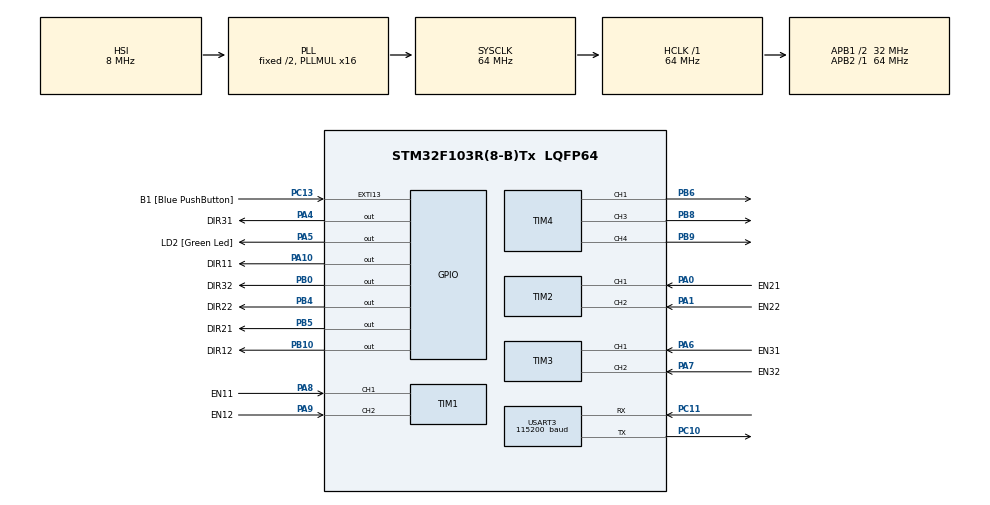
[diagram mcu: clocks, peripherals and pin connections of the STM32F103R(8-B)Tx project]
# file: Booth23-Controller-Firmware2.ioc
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Dma.Request0=USART3_RX
Dma.USART3_RX.0.Direction=DMA_PERIPH_TO_MEMORY
Dma.USART3_RX.0.Instance=DMA1_Channel3
Dma.USART3_RX.0.MemDataAlignment=DMA_MDATAALIGN_BYTE
Dma.USART3_RX.0.MemInc=DMA_MINC_ENABLE
Dma.USART3_RX.0.Mode=DMA_NORMAL
Dma.USART3_RX.0.PeriphDataAlignment=DMA_PDATAALIGN_BYTE
Dma.USART3_RX.0.PeriphInc=DMA_PINC_DISABLE
Dma.USART3_RX.0.Priority=DMA_PRIORITY_LOW
Mcu.Family=STM32F1
Mcu.Name=STM32F103R(8-B)Tx
Mcu.Package=LQFP64
NVIC.DMA1_Channel3_IRQn=true\:0\:0\:false\:false\:true\:false\:true\:true
NVIC.EXTI15_10_IRQn=true\:0\:0\:false\:false\:true\:true\:true\:true
NVIC.PriorityGroup=NVIC_PRIORITYGROUP_4
NVIC.USART3_IRQn=true\:0\:0\:false\:false\:true\:true\:true\:true
PA0-WKUP.GPIO_Label=EN21
PA0-WKUP.Signal=S_TIM2_CH1_ETR
PA1.GPIO_Label=EN22
PA1.Signal=S_TIM2_CH2
PA10.GPIO_Label=DIR11
PA10.Signal=GPIO_Output
PA13.GPIO_Label=TMS
PA13.Mode=Serial_Wire
PA13.Signal=SYS_JTMS-SWDIO
PA14.GPIO_Label=TCK
PA14.Mode=Serial_Wire
PA14.Signal=SYS_JTCK-SWCLK
PA2.GPIO_Label=USART_TX
PA2.GPIO_Mode=GPIO_MODE_AF_PP
PA2.GPIO_PuPd=GPIO_NOPULL
PA2.GPIO_Speed=GPIO_SPEED_FREQ_LOW
PA2.Signal=USART2_TX
PA3.GPIO_Label=USART_RX
PA3.GPIO_Mode=GPIO_MODE_AF_PP
PA3.GPIO_PuPd=GPIO_NOPULL
PA3.GPIO_Speed=GPIO_SPEED_FREQ_LOW
PA3.Signal=USART2_RX
PA4.GPIO_Label=DIR31
PA4.Signal=GPIO_Output
PA5.GPIO_Label=LD2 [Green Led]
PA5.GPIO_ModeDefaultOutputPP=GPIO_MODE_OUTPUT_PP
PA5.GPIO_PuPd=GPIO_NOPULL
PA5.GPIO_Speed=GPIO_SPEED_FREQ_LOW
PA5.Signal=GPIO_Output
PA6.GPIO_Label=EN31
PA6.Signal=S_TIM3_CH1
PA7.GPIO_Label=EN32
PA7.Signal=S_TIM3_CH2
PA8.GPIO_Label=EN11
PA8.Signal=S_TIM1_CH1
PA9.GPIO_Label=EN12
PA9.Signal=S_TIM1_CH2
PB0.GPIO_Label=DIR32
PB0.Signal=GPIO_Output
PB10.GPIO_Label=DIR12
PB10.Signal=GPIO_Output
PB3.GPIO_Label=SWO
PB3.Signal=SYS_JTDO-TRACESWO
PB4.GPIO_Label=DIR22
PB4.Signal=GPIO_Output
PB5.GPIO_Label=DIR21
PB5.Signal=GPIO_Output
PB6.GPIO_ModeDefaultPP=GPIO_MODE_AF_PP
PB6.GPIO_Speed=GPIO_SPEED_FREQ_LOW
PB6.Signal=S_TIM4_CH1
PB8.GPIO_ModeDefaultPP=GPIO_MODE_AF_PP
PB8.GPIO_Speed=GPIO_SPEED_FREQ_LOW
PB8.Signal=S_TIM4_CH3
PB9.GPIO_ModeDefaultPP=GPIO_MODE_AF_PP
PB9.GPIO_Speed=GPIO_SPEED_FREQ_LOW
PB9.Signal=S_TIM4_CH4
PC10.Mode=Asynchronous
PC10.Signal=USART3_TX
PC11.Mode=Asynchronous
PC11.Signal=USART3_RX
PC13-TAMPER-RTC.GPIO_Label=B1 [Blue PushButton]
PC13-TAMPER-RTC.GPIO_PuPd=GPIO_NOPULL
PC13-TAMPER-RTC.Signal=GPXTI13
PC14-OSC32_IN.Mode=LSE-External-Oscillator
PC14-OSC32_IN.Signal=RCC_OSC32_IN
PC15-OSC32_OUT.Mode=LSE-External-Oscillator
PC15-OSC32_OUT.Signal=RCC_OSC32_OUT
PD0-OSC_IN.Mode=HSE-External-Oscillator
PD0-OSC_IN.Signal=RCC_OSC_IN
PD1-OSC_OUT.Mode=HSE-External-Oscillator
PD1-OSC_OUT.Signal=RCC_OSC_OUT
ProjectManager.HeapSize=0x200
ProjectManager.StackSize=0x400
ProjectManager.TargetToolchain=STM32CubeIDE
RCC.AHBFreq_Value=64000000
RCC.APB1CLKDivider=RCC_HCLK_DIV2
RCC.APB1Freq_Value=32000000
RCC.APB1TimFreq_Value=64000000
RCC.APB2Freq_Value=64000000
RCC.APB2TimFreq_Value=64000000
RCC.HCLKFreq_Value=64000000
RCC.PLLMUL=RCC_PLL_MUL16
RCC.RTCClockSelection=RCC_RTCCLKSOURCE_LSE
RCC.SYSCLKFreq_VALUE=64000000
RCC.SYSCLKSource=RCC_SYSCLKSOURCE_PLLCLK
RCC.USBFreq_Value=64000000
SH.S_TIM1_CH1.0=TIM1_CH1,Encoder_Interface
SH.S_TIM1_CH2.0=TIM1_CH2,Encoder_Interface
SH.S_TIM2_CH1_ETR.0=TIM2_CH1,Encoder_Interface
SH.S_TIM2_CH2.0=TIM2_CH2,Encoder_Interface
SH.S_TIM3_CH1.0=TIM3_CH1,Encoder_Interface
SH.S_TIM3_CH2.0=TIM3_CH2,Encoder_Interface
SH.S_TIM4_CH1.0=TIM4_CH1,PWM Generation1 CH1
SH.S_TIM4_CH3.0=TIM4_CH3,PWM Generation3 CH3
SH.S_TIM4_CH4.0=TIM4_CH4,PWM Generation4 CH4
TIM4.AutoReloadPreload=TIM_AUTORELOAD_PRELOAD_ENABLE
TIM4.Channel-PWM\ Generation1\ CH1=TIM_CHANNEL_1
TIM4.Channel-PWM\ Generation3\ CH3=TIM_CHANNEL_3
TIM4.Channel-PWM\ Generation4\ CH4=TIM_CHANNEL_4
USART3.BaudRate=115200 
USART3.VirtualMode=VM_ASYNC
VP_TIM4_VS_ClockSourceINT.Mode=Internal
board=NUCLEO-F103RB

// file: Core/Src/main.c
/* USER CODE BEGIN Header */
/**
  ******************************************************************************
  * @file           : main.c
  * @brief          : Main program body
  ******************************************************************************
  * @attention
  *
  * Copyright (c) 2023 STMicroelectronics.
  * All rights reserved.
  *
  * This software is licensed under terms that can be found in the LICENSE file
  * in the root directory of this software component.
  * If no LICENSE file comes with this software, it is provided AS-IS.
  *
  ******************************************************************************
  */
/* USER CODE END Header */
#include "main.h"

/* USER CODE BEGIN Includes */
#include <string.h>
#include <stdio.h>
#include <stdlib.h>
#include <stdbool.h>
/* USER CODE END Includes */

/* USER CODE BEGIN PTD */
typedef struct Motor_t {
	GPIO_TypeDef *dir1_port;
	uint16_t dir1_pin;
	GPIO_TypeDef *dir2_port;
	uint16_t dir2_pin;
	TIM_HandleTypeDef *pwm_tim;
	uint16_t pwm_tim_ch;
	TIM_HandleTypeDef *encoder_tim;
} Motor_t;

typedef enum Direction_t {
	OFF = 0,
	BLOCK = 1,
	FORWARD = 2,
	BACK = 3
} Direction_t;

typedef struct PID_Controller_t {
	Motor_t* motor;
	float pos;
	float last_e;
	float target;
	float K_p; // PID Gain
	float K_d; // Derivative time
	float E;   // Encoder coefficient
	float velocity_buf[5];
	float velocity;
	uint32_t t_millis;
	uint16_t last_encoder_pos;
	uint32_t last_ticks;
	uint32_t last_t_millis;
	int u;
} PID_Controller_t;

typedef enum CommandWord_t {
	Command_Word_GOTO = 0,
	Command_Word_SET = 1,
	Command_Word_OFF = 2,
	Command_Word_TENSION = 3,
	Command_Word_BLOCK = 4
} CommandWord_t;

typedef struct Command_t {
	CommandWord_t cmd;
	float p1, p2, p3;
} Command_t;

/* USER CODE END PTD */

/* USER CODE BEGIN PM */
#define PWM_MAX 65535
#define SERIAL_C 1000.0
#define MAX_DIFF 2000
#define RX_BUF_SIZE 16
#define TX_BUF_SIZE 16
/* USER CODE END PM */

TIM_HandleTypeDef htim1;
TIM_HandleTypeDef htim2;
TIM_HandleTypeDef htim3;
TIM_HandleTypeDef htim4;

UART_HandleTypeDef huart3;
DMA_HandleTypeDef hdma_usart3_rx;

/* USER CODE BEGIN PV */
uint8_t uart_rx_buf[RX_BUF_SIZE];
volatile bool uart_ready = false;

/* USER CODE END PV */

void SystemClock_Config(void);
static void MX_GPIO_Init(void);
static void MX_DMA_Init(void);
static void MX_TIM1_Init(void);
static void MX_TIM2_Init(void);
static void MX_TIM3_Init(void);
static void MX_TIM4_Init(void);
static void MX_USART3_UART_Init(void);
/* USER CODE BEGIN PFP */
void motor_init(Motor_t* motor);
void drive_motor(Motor_t* motor, Direction_t dir, uint16_t speed);
void pid_init(PID_Controller_t* pid, Motor_t* motor,
			  float K_p, float K_d, float E);
void pid_set_target(PID_Controller_t* pid, float target);
void pid_loop(PID_Controller_t* pid);
void pid_set_pos(PID_Controller_t* pid, float abs);
uint16_t encoder_read_raw(Motor_t* motor);
uint8_t parse_command(Command_t* cmd, uint8_t buf[RX_BUF_SIZE]);
int clamp(int val, int lo, int hi);

void block(Motor_t* m1, Motor_t* m2, Motor_t* m3);
void off(Motor_t* m1, Motor_t* m2, Motor_t* m3);
void update_state(PID_Controller_t* p);
void tension(PID_Controller_t* p1, PID_Controller_t* p2, PID_Controller_t* p3);
/* USER CODE END PFP */

/* USER CODE BEGIN 0 */
int reception_complete = 0;
/* USER CODE END 0 */

int main(void)
{

  /* MCU Configuration--------------------------------------------------------*/

  /* Reset of all peripherals, Initializes the Flash interface and the Systick. */
  HAL_Init();

  /* Configure the system clock */
  SystemClock_Config();

  /* Initialize all configured peripherals */
  MX_GPIO_Init();
  MX_DMA_Init();
  MX_TIM1_Init();
  MX_TIM2_Init();
  MX_TIM3_Init();
  MX_TIM4_Init();
  MX_USART3_UART_Init();
  /* USER CODE BEGIN 2 */

  Motor_t motor1 = {
  	.dir1_port = DIR11_GPIO_Port,
  	.dir1_pin = DIR11_Pin,
  	.dir2_port = DIR12_GPIO_Port,
  	.dir2_pin = DIR12_Pin,
  	.pwm_tim = &htim4,
  	.pwm_tim_ch = TIM_CHANNEL_1,
  	.encoder_tim = &htim1
  };

  Motor_t motor2 = {
  	.dir1_port = DIR21_GPIO_Port,
  	.dir1_pin = DIR21_Pin,
  	.dir2_port = DIR22_GPIO_Port,
  	.dir2_pin = DIR22_Pin,
  	.pwm_tim = &htim4,
  	.pwm_tim_ch = TIM_CHANNEL_3,
  	.encoder_tim = &htim2
  };

  Motor_t motor3 = {
  	.dir1_port = DIR31_GPIO_Port,
  	.dir1_pin = DIR31_Pin,
  	.dir2_port = DIR32_GPIO_Port,
  	.dir2_pin = DIR32_Pin,
  	.pwm_tim = &htim4,
  	.pwm_tim_ch = TIM_CHANNEL_4,
  	.encoder_tim = &htim3
  };

  float K_p = 500000.0;
  float K_d = 100000.0;
  float E = 0.00147;

  PID_Controller_t pid1;
  PID_Controller_t pid2;
  PID_Controller_t pid3;

  motor_init(&motor1);
  motor_init(&motor2);
  motor_init(&motor3);

  pid_init(&pid1, &motor1, K_p, K_d, E);
  pid_init(&pid2, &motor2, K_p, K_d, E);
  pid_init(&pid3, &motor3, K_p, K_d, E);

  HAL_UART_Receive_DMA(&huart3, uart_rx_buf, RX_BUF_SIZE);
  HAL_UART_Transmit(&huart3, '0', 1, 100);

  /* USER CODE END 2 */

  /* Infinite loop */
  /* USER CODE BEGIN WHILE */
  int millis = HAL_GetTick();
  int prev_millis = millis;

  bool continue_flag = false;

  while (1)
  {
    /* USER CODE END WHILE */

    /* USER CODE BEGIN 3 */
	millis = HAL_GetTick();
	if (millis - prev_millis >= 100 && !uart_ready) {
		// ready to receive every 100ms
		HAL_UART_Transmit(&huart3, '0', 1, 100);
		prev_millis = millis;
	}
	pid_loop(&pid1);
	pid_loop(&pid2);
	pid_loop(&pid3);

	if (uart_ready) {
		Command_t cmd;
		uint8_t r = parse_command(&cmd, uart_rx_buf);
		if (r == 0) {
			switch(cmd.cmd) {
			case Command_Word_GOTO:
				pid1.target = (float) cmd.p1;
				pid2.target = (float) cmd.p2;
				pid3.target = (float) cmd.p3;
				break;
			case Command_Word_SET:
				pid1.pos = (float) cmd.p1;
				pid2.pos = (float) cmd.p2;
				pid3.pos = (float) cmd.p3;

				pid1.u = 0;
				pid2.u = 0;
				pid3.u = 0;

				pid1.velocity = 0.0;
				pid2.velocity = 0.0;
				pid3.velocity = 0.0;

				for (int i = 0; i < 5; i++) {
					pid1.velocity_buf[i] = 0.0;
					pid2.velocity_buf[i] = 0.0;
					pid3.velocity_buf[i] = 0.0;
				}
				break;
			case Command_Word_OFF:
				off(pid1.motor, pid2.motor, pid3.motor);
				uart_ready = false;
				HAL_UART_Receive_DMA(&huart3, uart_rx_buf, RX_BUF_SIZE);
				HAL_Delay(50);
				HAL_UART_Transmit(&huart3, '0', 1, 100);
				while (!uart_ready){}
				continue_flag = true;
				break;
			case Command_Word_TENSION:
				tension(&pid1, &pid2, &pid3);
				uart_ready = false;
				HAL_UART_Receive_DMA(&huart3, uart_rx_buf, RX_BUF_SIZE);
				HAL_Delay(50);
				HAL_UART_Transmit(&huart3, '0', 1, 100);
				while (!uart_ready){}
				continue_flag = true;
				break;
			case Command_Word_BLOCK:
				block(pid1.motor, pid2.motor, pid3.motor);
				uart_ready = false;
				HAL_UART_Receive_DMA(&huart3, uart_rx_buf, RX_BUF_SIZE);
				HAL_UART_Transmit(&huart3, '0', 1, 100);
				while (!uart_ready){}
				continue_flag = true;
				break;
			default:
				break;
			}
		}
		if (continue_flag) {
			continue_flag = false;
			continue;
		}
		HAL_UART_Transmit(&huart3, uart_rx_buf, sizeof(uart_rx_buf), 100);
		uart_ready = false;
	}
	HAL_Delay(5);
  }
  /* USER CODE END 3 */
}

void SystemClock_Config(void)
{
  RCC_OscInitTypeDef RCC_OscInitStruct = {0};
  RCC_ClkInitTypeDef RCC_ClkInitStruct = {0};

  /** Initializes the RCC Oscillators according to the specified parameters
  * in the RCC_OscInitTypeDef structure.
  */
  RCC_OscInitStruct.OscillatorType = RCC_OSCILLATORTYPE_HSI;
  RCC_OscInitStruct.HSIState = RCC_HSI_ON;
  RCC_OscInitStruct.HSICalibrationValue = RCC_HSICALIBRATION_DEFAULT;
  RCC_OscInitStruct.PLL.PLLState = RCC_PLL_ON;
  RCC_OscInitStruct.PLL.PLLSource = RCC_PLLSOURCE_HSI_DIV2;
  RCC_OscInitStruct.PLL.PLLMUL = RCC_PLL_MUL16;
  if (HAL_RCC_OscConfig(&RCC_OscInitStruct) != HAL_OK)
  {
    Error_Handler();
  }

  /** Initializes the CPU, AHB and APB buses clocks
  */
  RCC_ClkInitStruct.ClockType = RCC_CLOCKTYPE_HCLK|RCC_CLOCKTYPE_SYSCLK
                              |RCC_CLOCKTYPE_PCLK1|RCC_CLOCKTYPE_PCLK2;
  RCC_ClkInitStruct.SYSCLKSource = RCC_SYSCLKSOURCE_PLLCLK;
  RCC_ClkInitStruct.AHBCLKDivider = RCC_SYSCLK_DIV1;
  RCC_ClkInitStruct.APB1CLKDivider = RCC_HCLK_DIV2;
  RCC_ClkInitStruct.APB2CLKDivider = RCC_HCLK_DIV1;

  if (HAL_RCC_ClockConfig(&RCC_ClkInitStruct, FLASH_LATENCY_2) != HAL_OK)
  {
    Error_Handler();
  }
}

static void MX_TIM1_Init(void)
{

  TIM_Encoder_InitTypeDef sConfig = {0};
  TIM_MasterConfigTypeDef sMasterConfig = {0};

  htim1.Instance = TIM1;
  htim1.Init.Prescaler = 0;
  htim1.Init.CounterMode = TIM_COUNTERMODE_UP;
  htim1.Init.Period = 65535;
  htim1.Init.ClockDivision = TIM_CLOCKDIVISION_DIV1;
  htim1.Init.RepetitionCounter = 0;
  htim1.Init.AutoReloadPreload = TIM_AUTORELOAD_PRELOAD_DISABLE;
  sConfig.EncoderMode = TIM_ENCODERMODE_TI1;
  sConfig.IC1Polarity = TIM_ICPOLARITY_RISING;
  sConfig.IC1Selection = TIM_ICSELECTION_DIRECTTI;
  sConfig.IC1Prescaler = TIM_ICPSC_DIV1;
  sConfig.IC1Filter = 0;
  sConfig.IC2Polarity = TIM_ICPOLARITY_RISING;
  sConfig.IC2Selection = TIM_ICSELECTION_DIRECTTI;
  sConfig.IC2Prescaler = TIM_ICPSC_DIV1;
  sConfig.IC2Filter = 0;
  if (HAL_TIM_Encoder_Init(&htim1, &sConfig) != HAL_OK)
  {
    Error_Handler();
  }
  sMasterConfig.MasterOutputTrigger = TIM_TRGO_RESET;
  sMasterConfig.MasterSlaveMode = TIM_MASTERSLAVEMODE_DISABLE;
  if (HAL_TIMEx_MasterConfigSynchronization(&htim1, &sMasterConfig) != HAL_OK)
  {
    Error_Handler();
  }

}

static void MX_TIM2_Init(void)
{

  TIM_Encoder_InitTypeDef sConfig = {0};
  TIM_MasterConfigTypeDef sMasterConfig = {0};

  htim2.Instance = TIM2;
  htim2.Init.Prescaler = 0;
  htim2.Init.CounterMode = TIM_COUNTERMODE_UP;
  htim2.Init.Period = 65535;
  htim2.Init.ClockDivision = TIM_CLOCKDIVISION_DIV1;
  htim2.Init.AutoReloadPreload = TIM_AUTORELOAD_PRELOAD_DISABLE;
  sConfig.EncoderMode = TIM_ENCODERMODE_TI1;
  sConfig.IC1Polarity = TIM_ICPOLARITY_RISING;
  sConfig.IC1Selection = TIM_ICSELECTION_DIRECTTI;
  sConfig.IC1Prescaler = TIM_ICPSC_DIV1;
  sConfig.IC1Filter = 0;
  sConfig.IC2Polarity = TIM_ICPOLARITY_RISING;
  sConfig.IC2Selection = TIM_ICSELECTION_DIRECTTI;
  sConfig.IC2Prescaler = TIM_ICPSC_DIV1;
  sConfig.IC2Filter = 0;
  if (HAL_TIM_Encoder_Init(&htim2, &sConfig) != HAL_OK)
  {
    Error_Handler();
  }
  sMasterConfig.MasterOutputTrigger = TIM_TRGO_RESET;
  sMasterConfig.MasterSlaveMode = TIM_MASTERSLAVEMODE_DISABLE;
  if (HAL_TIMEx_MasterConfigSynchronization(&htim2, &sMasterConfig) != HAL_OK)
  {
    Error_Handler();
  }

}

static void MX_TIM3_Init(void)
{

  TIM_Encoder_InitTypeDef sConfig = {0};
  TIM_MasterConfigTypeDef sMasterConfig = {0};

  htim3.Instance = TIM3;
  htim3.Init.Prescaler = 0;
  htim3.Init.CounterMode = TIM_COUNTERMODE_UP;
  htim3.Init.Period = 65535;
  htim3.Init.ClockDivision = TIM_CLOCKDIVISION_DIV1;
  htim3.Init.AutoReloadPreload = TIM_AUTORELOAD_PRELOAD_DISABLE;
  sConfig.EncoderMode = TIM_ENCODERMODE_TI1;
  sConfig.IC1Polarity = TIM_ICPOLARITY_RISING;
  sConfig.IC1Selection = TIM_ICSELECTION_DIRECTTI;
  sConfig.IC1Prescaler = TIM_ICPSC_DIV1;
  sConfig.IC1Filter = 0;
  sConfig.IC2Polarity = TIM_ICPOLARITY_RISING;
  sConfig.IC2Selection = TIM_ICSELECTION_DIRECTTI;
  sConfig.IC2Prescaler = TIM_ICPSC_DIV1;
  sConfig.IC2Filter = 0;
  if (HAL_TIM_Encoder_Init(&htim3, &sConfig) != HAL_OK)
  {
    Error_Handler();
  }
  sMasterConfig.MasterOutputTrigger = TIM_TRGO_RESET;
  sMasterConfig.MasterSlaveMode = TIM_MASTERSLAVEMODE_DISABLE;
  if (HAL_TIMEx_MasterConfigSynchronization(&htim3, &sMasterConfig) != HAL_OK)
  {
    Error_Handler();
  }

}

static void MX_TIM4_Init(void)
{

  TIM_ClockConfigTypeDef sClockSourceConfig = {0};
  TIM_MasterConfigTypeDef sMasterConfig = {0};
  TIM_OC_InitTypeDef sConfigOC = {0};

  htim4.Instance = TIM4;
  htim4.Init.Prescaler = 0;
  htim4.Init.CounterMode = TIM_COUNTERMODE_UP;
  htim4.Init.Period = 65535;
  htim4.Init.ClockDivision = TIM_CLOCKDIVISION_DIV1;
  htim4.Init.AutoReloadPreload = TIM_AUTORELOAD_PRELOAD_ENABLE;
  if (HAL_TIM_Base_Init(&htim4) != HAL_OK)
  {
    Error_Handler();
  }
  sClockSourceConfig.ClockSource = TIM_CLOCKSOURCE_INTERNAL;
  if (HAL_TIM_ConfigClockSource(&htim4, &sClockSourceConfig) != HAL_OK)
  {
    Error_Handler();
  }
  if (HAL_TIM_PWM_Init(&htim4) != HAL_OK)
  {
    Error_Handler();
  }
  sMasterConfig.MasterOutputTrigger = TIM_TRGO_RESET;
  sMasterConfig.MasterSlaveMode = TIM_MASTERSLAVEMODE_DISABLE;
  if (HAL_TIMEx_MasterConfigSynchronization(&htim4, &sMasterConfig) != HAL_OK)
  {
    Error_Handler();
  }
  sConfigOC.OCMode = TIM_OCMODE_PWM1;
  sConfigOC.Pulse = 0;
  sConfigOC.OCPolarity = TIM_OCPOLARITY_HIGH;
  sConfigOC.OCFastMode = TIM_OCFAST_DISABLE;
  if (HAL_TIM_PWM_ConfigChannel(&htim4, &sConfigOC, TIM_CHANNEL_1) != HAL_OK)
  {
    Error_Handler();
  }
  if (HAL_TIM_PWM_ConfigChannel(&htim4, &sConfigOC, TIM_CHANNEL_3) != HAL_OK)
  {
    Error_Handler();
  }
  if (HAL_TIM_PWM_ConfigChannel(&htim4, &sConfigOC, TIM_CHANNEL_4) != HAL_OK)
  {
    Error_Handler();
  }
  HAL_TIM_MspPostInit(&htim4);

}

static void MX_USART3_UART_Init(void)
{

  huart3.Instance = USART3;
  huart3.Init.BaudRate = 115200 ;
  huart3.Init.WordLength = UART_WORDLENGTH_8B;
  huart3.Init.StopBits = UART_STOPBITS_1;
  huart3.Init.Parity = UART_PARITY_NONE;
  huart3.Init.Mode = UART_MODE_TX_RX;
  huart3.Init.HwFlowCtl = UART_HWCONTROL_NONE;
  huart3.Init.OverSampling = UART_OVERSAMPLING_16;
  if (HAL_UART_Init(&huart3) != HAL_OK)
  {
    Error_Handler();
  }

}

static void MX_DMA_Init(void)
{

  /* DMA controller clock enable */
  __HAL_RCC_DMA1_CLK_ENABLE();

  /* DMA interrupt init */
  /* DMA1_Channel3_IRQn interrupt configuration */
  HAL_NVIC_SetPriority(DMA1_Channel3_IRQn, 0, 0);
  HAL_NVIC_EnableIRQ(DMA1_Channel3_IRQn);

}

static void MX_GPIO_Init(void)
{
  GPIO_InitTypeDef GPIO_InitStruct = {0};

  /* GPIO Ports Clock Enable */
  __HAL_RCC_GPIOC_CLK_ENABLE();
  __HAL_RCC_GPIOD_CLK_ENABLE();
  __HAL_RCC_GPIOA_CLK_ENABLE();
  __HAL_RCC_GPIOB_CLK_ENABLE();

  /*Configure GPIO pin Output Level */
  HAL_GPIO_WritePin(GPIOA, DIR31_Pin|LD2_Pin|DIR11_Pin, GPIO_PIN_RESET);

  /*Configure GPIO pin Output Level */
  HAL_GPIO_WritePin(GPIOB, DIR32_Pin|DIR12_Pin|DIR22_Pin|DIR21_Pin, GPIO_PIN_RESET);

  /*Configure GPIO pin : B1_Pin */
  GPIO_InitStruct.Pin = B1_Pin;
  GPIO_InitStruct.Mode = GPIO_MODE_IT_RISING;
  GPIO_InitStruct.Pull = GPIO_NOPULL;
  HAL_GPIO_Init(B1_GPIO_Port, &GPIO_InitStruct);

  /*Configure GPIO pins : USART_TX_Pin USART_RX_Pin */
  GPIO_InitStruct.Pin = USART_TX_Pin|USART_RX_Pin;
  GPIO_InitStruct.Mode = GPIO_MODE_AF_PP;
  GPIO_InitStruct.Speed = GPIO_SPEED_FREQ_LOW;
  HAL_GPIO_Init(GPIOA, &GPIO_InitStruct);

  /*Configure GPIO pins : DIR31_Pin LD2_Pin DIR11_Pin */
  GPIO_InitStruct.Pin = DIR31_Pin|LD2_Pin|DIR11_Pin;
  GPIO_InitStruct.Mode = GPIO_MODE_OUTPUT_PP;
  GPIO_InitStruct.Pull = GPIO_NOPULL;
  GPIO_InitStruct.Speed = GPIO_SPEED_FREQ_LOW;
  HAL_GPIO_Init(GPIOA, &GPIO_InitStruct);

  /*Configure GPIO pins : DIR32_Pin DIR12_Pin DIR22_Pin DIR21_Pin */
  GPIO_InitStruct.Pin = DIR32_Pin|DIR12_Pin|DIR22_Pin|DIR21_Pin;
  GPIO_InitStruct.Mode = GPIO_MODE_OUTPUT_PP;
  GPIO_InitStruct.Pull = GPIO_NOPULL;
  GPIO_InitStruct.Speed = GPIO_SPEED_FREQ_LOW;
  HAL_GPIO_Init(GPIOB, &GPIO_InitStruct);

  /* EXTI interrupt init*/
  HAL_NVIC_SetPriority(EXTI15_10_IRQn, 0, 0);
  HAL_NVIC_EnableIRQ(EXTI15_10_IRQn);

}

/* USER CODE BEGIN 4 */
void drive_motor(Motor_t* motor, Direction_t dir, uint16_t speed)
{
	switch (dir) {
		case OFF:
			HAL_GPIO_WritePin(motor->dir1_port, motor->dir1_pin, 0);
			HAL_GPIO_WritePin(motor->dir2_port, motor->dir2_pin, 0);
			break;
		case BLOCK:
			HAL_GPIO_WritePin(motor->dir1_port, motor->dir1_pin, 1);
			HAL_GPIO_WritePin(motor->dir2_port, motor->dir2_pin, 1);
			break;
		case FORWARD:
			HAL_GPIO_WritePin(motor->dir1_port, motor->dir1_pin, 1);
			HAL_GPIO_WritePin(motor->dir2_port, motor->dir2_pin, 0);
			break;
		case BACK:
			HAL_GPIO_WritePin(motor->dir1_port, motor->dir1_pin, 0);
			HAL_GPIO_WritePin(motor->dir2_port, motor->dir2_pin, 1);
			break;
	};

	__HAL_TIM_SET_COMPARE(motor->pwm_tim, motor->pwm_tim_ch, speed);
}

void motor_init(Motor_t *motor)
{
	HAL_TIM_PWM_Start(motor->pwm_tim, motor->pwm_tim_ch);
	HAL_TIM_Encoder_Start(motor->encoder_tim, TIM_CHANNEL_ALL);
}

void pid_init(PID_Controller_t* pid, Motor_t* motor,
		      float K_p, float K_d, float E)
{
	pid->motor = motor;
	pid->target = 0.0;
	pid->pos = 0.0;
	pid->last_e = 0.0;
	pid->K_p = K_p;
	pid->K_d = K_d;
	pid->E = E;
	pid->velocity_buf[0] = 0.0;
	pid->velocity_buf[1] = 0.0;
	pid->velocity_buf[2] = 0.0;
	pid->velocity_buf[3] = 0.0;
	pid->velocity_buf[4] = 0.0;
	pid->velocity = 0;
	pid->t_millis = HAL_GetTick() + 1;
	pid->last_t_millis = HAL_GetTick();
	pid->last_encoder_pos = encoder_read_raw(motor);

	pid->last_ticks = HAL_GetTick();
}

void pid_set_target(PID_Controller_t* pid, float target)
{
	pid->target = target;
}

void pid_loop(PID_Controller_t* pid)
{
	update_state(pid);
	float e = pid->pos - pid->target;
	float de = e - pid->last_e;

	pid->u = (int) (-pid->K_p * e - pid->K_d*de);

	pid->u = clamp(pid->u, -PWM_MAX, PWM_MAX);

	if (pid->u > 0) {
		drive_motor(pid->motor, FORWARD, pid->u);
	} else {
		drive_motor(pid->motor, BACK, -pid->u);
	}

	pid->last_e = e;
}

void pid_set_pos(PID_Controller_t* pid, float pos)
{
	pid->pos = pos;
}

uint16_t encoder_read_raw(Motor_t* motor)
{
	uint16_t val = (motor->encoder_tim->Instance->CNT) >> 2;
	return val;
}

void HAL_UART_RxCpltCallback(UART_HandleTypeDef *huart)
{
	HAL_UART_Receive_DMA(&huart3, uart_rx_buf, RX_BUF_SIZE);
	uart_ready = 1;
}

uint8_t parse_command(Command_t *cmd, uint8_t buf[RX_BUF_SIZE])
{
	int CMD_WORD_SIZE = 4;
	//Fixing CMD WORD TO 4, JUST ADD A SPACE TO SET: "SET "
	char cmd_word[CMD_WORD_SIZE];
	int p1_i, p2_i, p3_i;
	const float factor = 0.001;
	for (int i = 0; i < 4; i++) {
		cmd_word[i] = buf[i];
	};
	p1_i = *(int*)(&buf[CMD_WORD_SIZE]);
	p2_i = *(int*)(&buf[CMD_WORD_SIZE + 4]);
	p3_i = *(int*)(&buf[CMD_WORD_SIZE + 8]);

	if (strncmp(cmd_word, "GOTO", 4) == 0) {
		cmd->cmd = Command_Word_GOTO;
	} else if (strncmp(cmd_word, "SET ", 4) == 0) {
		cmd->cmd = Command_Word_SET;
	} else if (strncmp(cmd_word, "OFF ", 4) == 0) {
		cmd->cmd = Command_Word_OFF;
	} else if (strncmp(cmd_word, "BLCK", 4) == 0) {
		cmd->cmd = Command_Word_BLOCK;
	} else if (strncmp(cmd_word, "TNSN", 4) == 0) {
		cmd->cmd = Command_Word_TENSION;
	} else {
		return 1;
	}
	cmd->p1 = (float) p1_i * factor;
	cmd->p2 = (float) p2_i * factor;
	cmd->p3 = (float) p3_i * factor;
	return 0;
}

int clamp(int val, int lo, int hi) {
	if (val < lo) {
		return lo;
	} else if (val > hi) {
		return hi;
	} else {
		return val;
	}
}

void off(Motor_t* m1, Motor_t* m2, Motor_t* m3) {
	drive_motor(m1, OFF, 0);
	drive_motor(m2, OFF, 0);
	drive_motor(m3, OFF, 0);
}

void block(Motor_t* m1, Motor_t* m2, Motor_t* m3){
	drive_motor(m1, BLOCK, (uint16_t) ~0);
	drive_motor(m2, BLOCK, (uint16_t) ~0);
	drive_motor(m3, BLOCK, (uint16_t) ~0);
}

void update_state(PID_Controller_t* pid) {
	uint16_t raw_read = encoder_read_raw(pid->motor);
	int32_t prev = (int32_t)pid->last_encoder_pos;
	int32_t curr = (int32_t)raw_read;
	int32_t diff = curr - prev;

	if (abs(diff) > MAX_DIFF) {
		diff = 0;
	}

	pid->last_encoder_pos = raw_read;

	if (diff < -(1 << 15)) {
		// overflow in the positive direction
		diff = (1 << 16) + diff;
	} else if (diff > (1 << 15)) {
		// overflow in the positive direction
		diff = diff - (1 << 16);
	}

	uint32_t delta_t_millis = pid->t_millis - pid->last_t_millis;
	pid->last_t_millis = pid->t_millis;
	pid->t_millis = HAL_GetTick();

	float dpos = pid->E * (float) diff;
	float v = 1000.0 * dpos/(float) delta_t_millis;

	for (int i = 0; i < 4; i++) {
		pid->velocity_buf[i] = pid->velocity_buf[i+1];
	}
	pid->velocity_buf[4] = v;

	// Yes this sucks, but it protects against inf and nan and such
	float sum = 0.0;
	for (int i = 0; i < 5; i++) {
		sum += pid->velocity_buf[i]/5.0;
	}
	pid->velocity = sum;

	pid->pos += dpos;
}

void tension(PID_Controller_t* p1, PID_Controller_t* p2, PID_Controller_t* p3) {
	float eps = 0.001; // 1 mm/s
	drive_motor(p1->motor, FORWARD, (uint16_t) (~0)>>1);
	drive_motor(p2->motor, FORWARD, (uint16_t) (~0)>>1);
	drive_motor(p3->motor, FORWARD, (uint16_t) (~0)>>1);

	uint32_t t_start = HAL_GetTick();
	while (HAL_GetTick() - t_start < 1000) {
		update_state(p1);
		update_state(p2);
		update_state(p3);
		HAL_Delay(50);
	}

	while ((p1->velocity > eps) || (p2->velocity > eps) || (p3->velocity > eps)) {
		HAL_Delay(20);
		update_state(p1);
		update_state(p2);
		update_state(p3);
	}
	block(p1->motor, p2->motor, p3->motor);
}
/* USER CODE END 4 */

void Error_Handler(void)
{
  __disable_irq();
  while (1)
  {
  }
}
